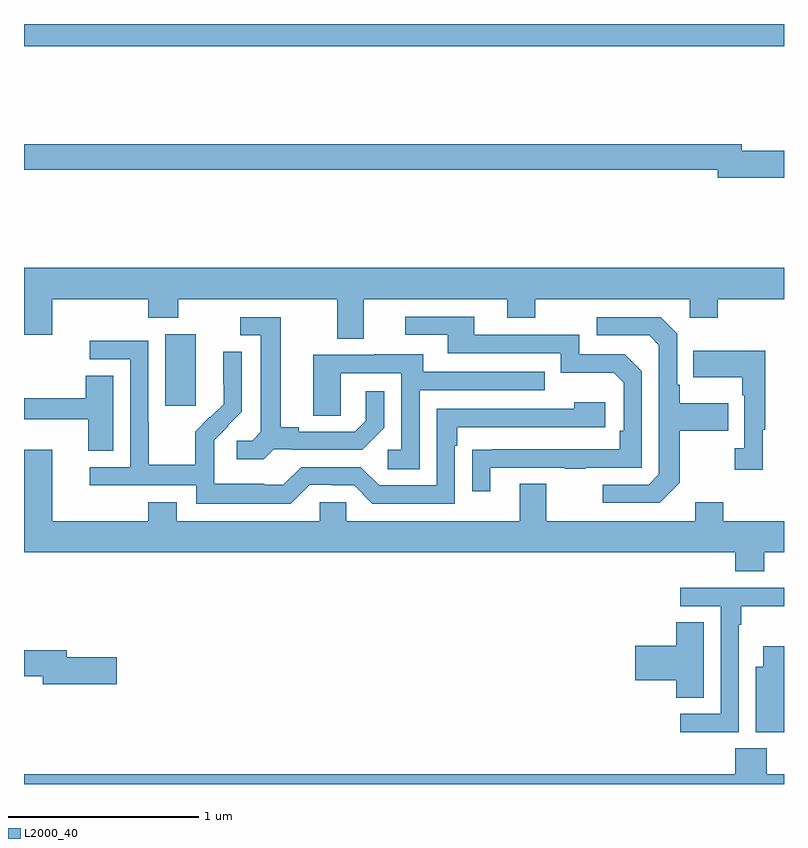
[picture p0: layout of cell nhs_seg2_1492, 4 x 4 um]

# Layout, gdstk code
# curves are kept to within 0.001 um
import gdstk
lib = gdstk.Library(unit=1e-6, precision=1e-09)
def R(c, l, rs):  # rectangles x0, y0, x1, y1
    for r in rs: c.add(gdstk.rectangle(r[:2], r[2:], *l))
def P(c, l, *ps):  # polygons
    for p in ps: c.add(gdstk.Polygon(p, *l))
L2000_40 = (2000, 40)

nhs_seg2_1492 = lib.new_cell('nhs_seg2_1492')
R(nhs_seg2_1492, L2000_40, [(189.743,597.792,189.904,598.168), (189,599.684,193,599.8)])
P(nhs_seg2_1492, L2000_40, [(193,599.132),(192.778,599.132),(192.778,599.168),(189,599.168),(189,599.032),(192.65,599.032),(192.65,598.99),(193,598.99)],
  [(190.789,598.352),(191.543,598.352),(191.543,598.253),(191.691,598.253),(191.691,598.352),(192.504,598.352),(192.504,598.253),(192.651,598.253),(192.651,598.352),(193,598.352),(193,598.516),(189,598.516),(189,598.164),(189.148,598.164),(189.148,598.352),(189.653,598.352),(189.653,598.253),(189.813,598.253),(189.813,598.352),(190.649,598.352),(190.649,598.144),(190.789,598.144)],
  [(191.455,597.465),(191.845,597.465),(191.845,597.46),(191.957,597.46),(191.957,597.465),(192.252,597.465),(192.252,597.972),(192.162,598.062),(191.922,598.062),(191.922,598.164),(191.371,598.164),(191.371,598.26),(191.007,598.26),(191.007,598.164),(191.231,598.164),(191.231,598.068),(191.826,598.068),(191.826,597.965),(192.103,597.965),(192.156,597.912),(192.156,597.658),(192.136,597.658),(192.136,597.561),(191.359,597.56),(191.359,597.342),(191.455,597.342)],
  [(192.451,597.385),(192.451,597.658),(192.707,597.658),(192.707,597.805),(192.451,597.805),(192.451,597.901),(192.438,597.901),(192.438,598.17),(192.351,598.257),(192.015,598.257),(192.015,598.161),(192.291,598.161),(192.342,598.11),(192.342,597.429),(192.288,597.375),(192.045,597.375),(192.045,597.279),(192.345,597.279)],
  [(190.314,597.561),(190.408,597.561),(190.408,597.558),(190.78,597.558),(190.896,597.674),(190.896,597.868),(190.799,597.868),(190.799,597.711),(190.742,597.654),(190.447,597.654),(190.447,597.677),(190.351,597.677),(190.351,598.257),(190.137,598.257),(190.137,598.161),(190.247,598.161),(190.247,597.653),(190.2,597.606),(190.119,597.606),(190.119,597.509),(190.262,597.509)],
  [(190.503,597.375),(190.619,597.375),(190.619,597.372),(190.737,597.372),(190.833,597.276),(191.268,597.276),(191.268,597.581),(191.281,597.581),(191.281,597.678),(192.058,597.678),(192.058,597.808),(191.897,597.808),(191.897,597.774),(191.172,597.774),(191.172,597.372),(190.869,597.372),(190.773,597.468),(190.458,597.468),(190.365,597.375),(190.265,597.375),(190.265,597.379),(190.002,597.379),(190.002,597.513),(190,597.513),(190,597.61),(190.146,597.758),(190.146,598.076),(190.049,598.076),(190.049,597.904),(190.052,597.904),(190.052,597.8),(189.981,597.729),(189.978,597.732),(189.901,597.655),(189.901,597.481),(189.657,597.481),(189.657,597.704),(189.654,597.704),(189.654,598.134),(189.345,598.134),(189.345,598.035),(189.558,598.035),(189.558,597.468),(189.345,597.468),(189.345,597.372),(189.906,597.372),(189.906,597.275),(190.403,597.275)],
  [(192.889,597.665),(192.901,597.665),(192.901,598.081),(192.523,598.081),(192.523,597.941),(192.78,597.941),(192.78,597.845),(192.792,597.845),(192.792,597.566),(192.741,597.566),(192.741,597.453),(192.889,597.453)],
  [(191.082,597.873),(191.741,597.873),(191.741,597.969),(191.101,597.969),(191.101,598.063),(190.847,598.063),(190.847,598.059),(190.523,598.059),(190.523,597.739),(190.668,597.739),(190.668,597.963),(190.986,597.963),(190.986,597.558),(190.914,597.558),(190.914,597.457),(191.082,597.457)],
  [(189.469,597.95),(189.326,597.95),(189.326,597.829),(189,597.829),(189,597.719),(189.338,597.719),(189.338,597.553),(189.469,597.553)],
  [(192.895,597.02),(193,597.02),(193,597.184),(192.681,597.184),(192.681,597.283),(192.533,597.283),(192.533,597.184),(191.749,597.184),(191.749,597.379),(191.609,597.379),(191.609,597.184),(190.695,597.184),(190.695,597.282),(190.557,597.282),(190.557,597.184),(189.805,597.184),(189.805,597.283),(189.653,597.283),(189.653,597.184),(189.148,597.184),(189.148,597.559),(189,597.559),(189,597.02),(192.743,597.02),(192.743,596.921),(192.895,596.921)],
  [(192.762,596.639),(192.775,596.639),(192.775,596.735),(193,596.735),(193,596.832),(192.453,596.832),(192.453,596.736),(192.666,596.736),(192.666,596.169),(192.453,596.169),(192.453,596.073),(192.762,596.073)],
  [(192.577,596.651),(192.434,596.651),(192.434,596.528),(192.216,596.528),(192.216,596.345),(192.434,596.345),(192.434,596.254),(192.577,596.254)],
  [(193,596.524),(192.89,596.524),(192.89,596.416),(192.851,596.416),(192.851,596.073),(193,596.073)],
  [(189.487,596.468),(189.226,596.468),(189.226,596.504),(189,596.504),(189,596.368),(189.098,596.368),(189.098,596.326),(189.487,596.326)],
  [(193,595.852),(192.908,595.852),(192.908,595.987),(192.743,595.987),(192.743,595.852),(189,595.852),(189,595.8),(193,595.8)])

lib.write_gds('nhs_seg2_1492.gds')
